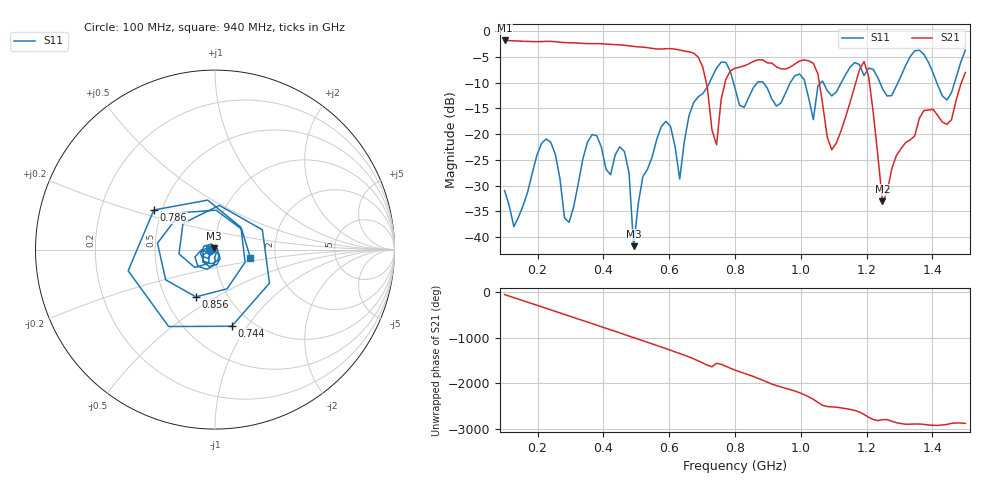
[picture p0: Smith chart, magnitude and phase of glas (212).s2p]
! NanoVNA-App
! Date: 2025-09-25 15:57:07
! Start: 100MHz Stop: 1,5GHz Points: 101
! S-Parameter data: F S11 S21 S12 S22
# Hz S RI R 50
!  Frequency  S11_Real  S11_Imag  S21_Real  S21_Imag  S12_Real  S12_Imag  S22_Real  S22_Imag
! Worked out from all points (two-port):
!   101 points, 100 MHz to 1.5 GHz, reference 50 ohm
!   highest |S21| = -1.80 dB at 100 MHz (marker M1); lowest = -33.0 dB at 1.248 GHz (marker M2)
!   |S21| within 3 dB of the highest: start of sweep to 684.1 MHz
!   lowest |S11| = -41.7 dB at 492 MHz (marker M3), VSWR 1.02, Z = 49.5 + j0.639 ohm
!   |S11| at or under -10 dB: start of sweep to 722.4 MHz; 795.3 MHz to 867.9 MHz (72.61 MHz wide, 8.73 % of centre); 886 MHz to 967.9 MHz (81.87 MHz wide, 8.83 % of centre) (the widest 3 of 7)
!   S12 and S22 are empty: the file has one direction only
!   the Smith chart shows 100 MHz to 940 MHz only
!   S11 on the Smith chart (normalised r, x): 100 MHz: 0.95, -0.01; 744 MHz: 0.81, -0.85; 786 MHz: 0.45, +0.24; 856 MHz: 0.71, -0.41; 940 MHz: 1.48, -0.14
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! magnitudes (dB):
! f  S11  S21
! 100 MHz  -30.9  -1.8
! 128 MHz  -38.0  -1.9
! 226 MHz  -20.9  -2.0
! 296 MHz  -37.1  -2.2
! 338 MHz  -24.7  -2.4
! 464 MHz  -23.4  -2.7
! 492 MHz  -41.7  -3.0
! 576 MHz  -18.5  -3.5
! 632 MHz  -28.7  -3.7
! 702 MHz  -12.1  -7.0
! 744 MHz  -7.2  -22.0
! 786 MHz  -7.8  -7.7
! 800 MHz  -11.1  -7.2
! 856 MHz  -10.9  -5.9
! 940 MHz  -13.9  -7.3
! 1.038 GHz  -17.2  -6.3
! 1.094 GHz  -12.6  -23.0
! 1.192 GHz  -8.6  -5.9
! 1.248 GHz  -11.2  -33.0
! 1.276 GHz  -12.5  -26.8
! 1.444 GHz  -13.4  -18.1
! 1.5 GHz  -3.7  -8.0
